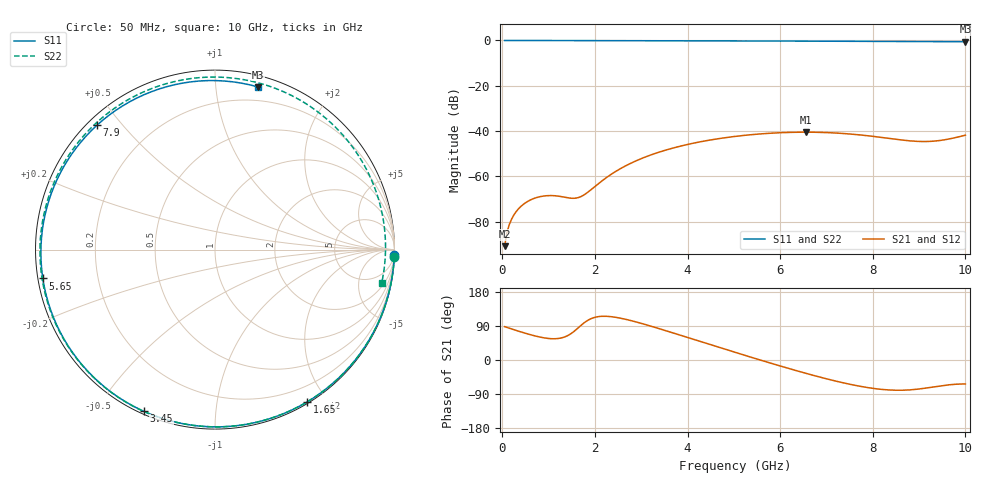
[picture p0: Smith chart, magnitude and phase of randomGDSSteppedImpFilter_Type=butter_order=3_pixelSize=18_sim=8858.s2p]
! freq	dB(S11)	phase(S11)	dB(S12)	phase(S12)
!  dB(S21)	phase(S21)	dB(S22)	phase(S22)
!S-par simulation data
#  GHz  S  DB  R 50
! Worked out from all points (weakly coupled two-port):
!   200 points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, 50 MHz to 10 GHz, reference 50 ohm
!   highest |S21| = -40.50 dB at 6.55 GHz (marker M1); lowest = -90.8 dB at 50 MHz (marker M2)
!   lowest |S11| = -0.6 dB at 10 GHz (marker M3), VSWR 30.94, Z = 4.33 + j64.7 ohm
!   |S11| at or under -10 dB: nowhere
!   |S22| runs from -0.5 to 0.0 dB; largest |S21 - S12| = 0
!   S11 on the Smith chart (normalised r, x): 50 MHz: 0, -62; 1.65 GHz: 0.02, -1.78; 3.45 GHz: 0.01, -0.65; 5.65 GHz: 0.01, -0.08; 7.9 GHz: 0.03, +0.43; 10 GHz: 0.09, +1.29
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0.05  -0.00 -1.9  -90.84 88.0  -90.84 88.0  -0.00 -2.3
0.15  -0.01 -5.6  -81.37 83.9  -81.37 83.9  -0.01 -6.9
0.4  -0.02 -14.7  -73.32 74.2  -73.32 74.2  -0.02 -18.2
0.7  -0.03 -25.6  -69.65 63.8  -69.65 63.8  -0.04 -31.7
1.2  -0.05 -43.3  -68.71 56.7  -68.71 56.7  -0.07 -53.6
1.65  -0.07 -58.7  -69.33 86.1  -69.33 86.1  -0.09 -72.7
1.75  -0.08 -62.0  -68.39 96.5  -68.39 96.5  -0.09 -76.8
2.1  -0.09 -73.4  -62.85 114.9  -62.85 114.9  -0.11 -90.9
2.5  -0.10 -86.0  -57.21 111.6  -57.21 111.6  -0.13 -106.5
2.95  -0.12 -99.5  -52.61 98.4  -52.61 98.4  -0.14 -123.4
3.4  -0.13 -112.3  -49.23 82.3  -49.23 82.3  -0.16 -139.7
3.45  -0.14 -113.7  -48.91 80.4  -48.91 80.4  -0.16 -141.5
4.25  -0.17 -135.3  -44.85 49.9  -44.85 49.9  -0.20 -169.6
5.05  -0.21 -155.7  -42.31 19.4  -42.31 19.4  -0.24 162.6
5.65  -0.24 -170.5  -41.15 -3.0  -41.15 -3.0  -0.28 141.6
6.55  -0.30 167.4  -40.50 -35.0  -40.50 -35.0  -0.32 109.4
6.7  -0.31 163.7  -40.52 -40.0  -40.52 -40.0  -0.33 104.0
7.3  -0.35 148.7  -41.00 -58.5  -41.00 -58.5  -0.35 82.1
7.9  -0.40 133.4  -42.10 -73.0  -42.10 -73.0  -0.37 60.1
8.35  -0.43 121.5  -43.25 -79.1  -43.25 -79.1  -0.38 43.9
9.15  -0.49 99.6  -44.63 -74.0  -44.63 -74.0  -0.42 16.0
10  -0.56 75.3  -41.83 -63.2  -41.83 -63.2  -0.47 -11.3
